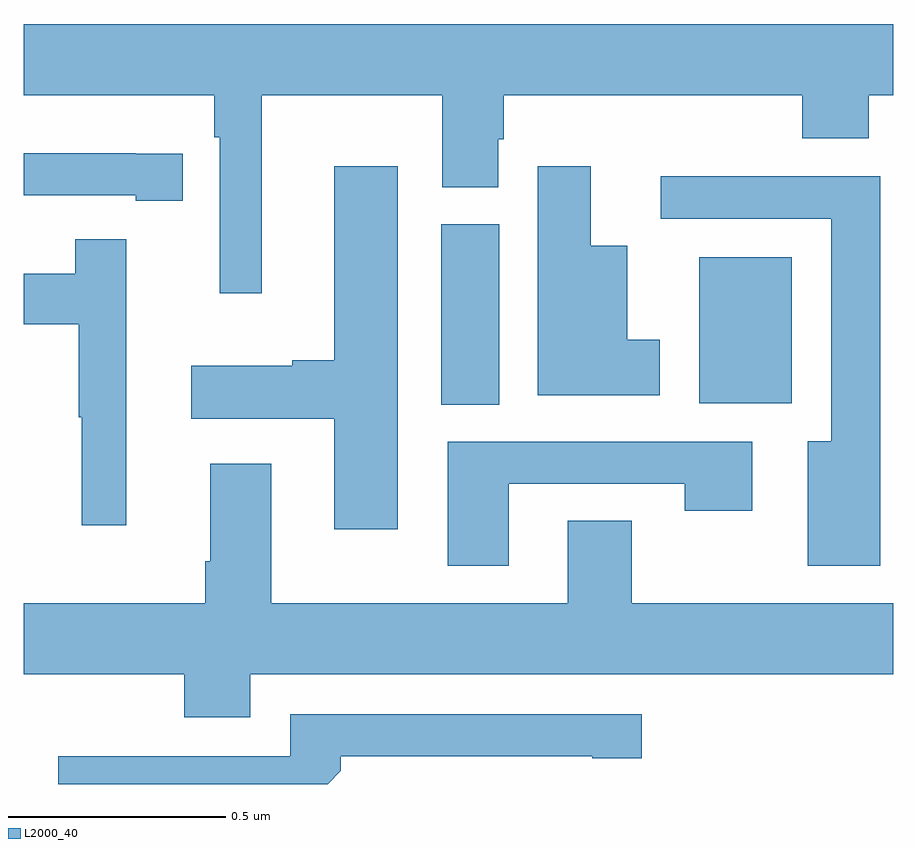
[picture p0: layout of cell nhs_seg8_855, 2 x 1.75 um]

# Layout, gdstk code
import gdstk
lib = gdstk.Library(unit=1e-6, precision=1e-09)
def R(c, l, rs):  # rectangles x0, y0, x1, y1
    for r in rs: c.add(gdstk.rectangle(r[:2], r[2:], *l))
def P(c, l, *ps):  # polygons
    for p in ps: c.add(gdstk.Polygon(p, *l))
L2000_40 = (2000, 40)

nhs_seg8_855 = lib.new_cell('nhs_seg8_855')
R(nhs_seg8_855, L2000_40, [(122.96,1131.772,123.094,1132.188), (123.554,1131.776,123.766,1132.111)])
P(nhs_seg8_855, L2000_40, [(122.548,1132.484),(122.963,1132.484),(122.963,1132.273),(123.091,1132.273),(123.091,1132.383),(123.104,1132.383),(123.104,1132.484),(123.791,1132.484),(123.791,1132.385),(123.943,1132.385),(123.943,1132.484),(124,1132.484),(124,1132.648),(122,1132.648),(122,1132.484),(122.438,1132.484),(122.438,1132.388),(122.451,1132.388),(122.451,1132.029),(122.548,1132.029)],
  [(122.366,1132.35),(122.258,1132.35),(122.258,1132.351),(122,1132.351),(122,1132.254),(122.258,1132.254),(122.258,1132.242),(122.366,1132.242)],
  [(122.86,1132.321),(122.714,1132.321),(122.714,1131.875),(122.618,1131.875),(122.618,1131.862),(122.385,1131.862),(122.385,1131.74),(122.714,1131.74),(122.714,1131.486),(122.86,1131.486)],
  [(123.463,1131.922),(123.388,1131.922),(123.388,1132.138),(123.304,1132.138),(123.304,1132.321),(123.182,1132.321),(123.182,1131.794),(123.463,1131.794)],
  [(123.97,1132.298),(123.465,1132.298),(123.465,1132.2),(123.857,1132.2),(123.857,1131.688),(123.803,1131.688),(123.803,1131.402),(123.97,1131.402)],
  [(122.236,1132.153),(122.119,1132.153),(122.119,1132.074),(122,1132.074),(122,1131.958),(122.127,1131.958),(122.127,1131.744),(122.134,1131.744),(122.134,1131.495),(122.236,1131.495)],
  [(123.115,1131.591),(123.52,1131.591),(123.52,1131.528),(123.676,1131.528),(123.676,1131.687),(122.975,1131.687),(122.975,1131.402),(123.115,1131.402)],
  [(122.521,1131.152),(124,1131.152),(124,1131.316),(123.399,1131.316),(123.399,1131.506),(123.251,1131.506),(123.251,1131.316),(122.569,1131.316),(122.569,1131.637),(122.429,1131.637),(122.429,1131.412),(122.417,1131.412),(122.417,1131.316),(122,1131.316),(122,1131.152),(122.369,1131.152),(122.369,1131.053),(122.521,1131.053)],
  [(122.729,1130.93),(122.729,1130.964),(123.308,1130.964),(123.308,1130.959),(123.421,1130.959),(123.421,1131.06),(122.613,1131.06),(122.613,1130.964),(122.079,1130.964),(122.079,1130.9),(122.699,1130.9)])

lib.write_gds('nhs_seg8_855.gds')
